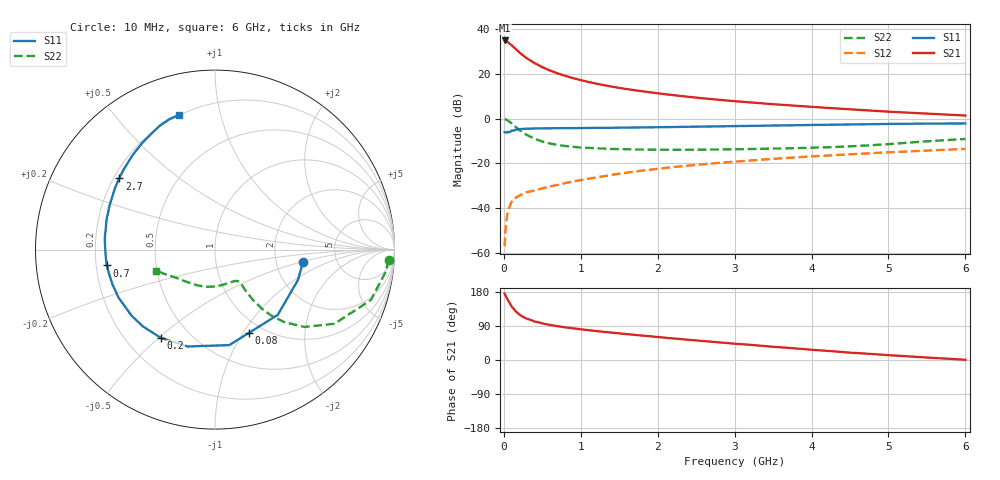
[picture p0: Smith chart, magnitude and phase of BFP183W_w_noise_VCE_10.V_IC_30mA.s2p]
! Infineon Technologies  Discrete & RF Semiconductors
! BFP183W
! VCE =  10. V,  IC =  30 mA
! Common Emitter S-Parameters:  Jan 2017
# GHz  S  MA  R  50
!  f  S11  S21  S12  S22
! GHz  MAG  ANG  MAG  ANG  MAG  ANG  MAG  ANG
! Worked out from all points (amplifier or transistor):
!   77 points, 10 MHz to 6 GHz, reference 50 ohm
!   highest |S21| = 34.9 dB at 10 MHz (marker M1)
!   |S21| within 3 dB of that: start of sweep to 128.3 MHz
!   unconditionally stable (mu >= 1): 1.034 GHz to 3.46 GHz
!   at 130 MHz: K = 0.29, MSG = 34.0 dB, |S12| = -36.2 dB
!   at 2.2 GHz: K = 1.05, MAG = 14.7 dB, |S12| = -21.7 dB
!   at 6 GHz: K = 0.86, MSG = 7.5 dB, |S12| = -13.6 dB
!   lowest NFmin = 1.39 dB at 450 MHz
!   S11 on the Smith chart (normalised r, x): 10 MHz: 2.84, -0.54; 80 MHz: 0.86, -1.06; 200 MHz: 0.34, -0.51; 700 MHz: 0.24, -0.07; 2.7 GHz: 0.22, +0.32; 6 GHz: 0.20, +0.75
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0.01  0.495 -8.3  55.71 175.3  0.0014 79.5  0.9691 -3.4
0.02  0.4922 -20.2  54.44 170.6  0.003 90.2  0.9597 -7.3
0.05  0.5045 -46.2  51.38 158.6  0.008 72.3  0.9129 -17.9
0.08  0.5012 -68.0  46.38 148.9  0.0114 64.3  0.8293 -25.7
0.1  0.538 -81.5  43.92 141.4  0.0137 61.2  0.7837 -31.8
0.15  0.5611 -105.8  36.41 129.2  0.0168 53.6  0.6583 -40.9
0.2  0.5769 -121.6  30.32 120.2  0.0189 49.9  0.5583 -46.3
0.25  0.5871 -133.3  25.73 113.6  0.0206 47.6  0.484 -49.5
0.3  0.5929 -141.7  22.16 108.8  0.0225 47.6  0.427 -51.4
0.4  0.6002 -153.4  17.3 101.5  0.0247 48.6  0.3521 -53.0
0.5  0.6031 -161.1  14.07 96.6  0.0274 50.7  0.3065 -53.3
0.6  0.6055 -167.1  11.87 92.5  0.0304 51.8  0.2764 -53.2
0.7  0.6094 -171.7  10.22 89.2  0.0328 54.4  0.2564 -52.8
0.9  0.6109 -179.2  7.989 83.5  0.0391 56.7  0.2329 -53.1
1.1  0.616 175.0  6.581 78.8  0.0452 59.3  0.2208 -53.7
1.5  0.6255 165.5  4.846 70.3  0.0583 60.7  0.2068 -57.8
2.1  0.6423 153.5  3.499 58.8  0.0785 60.8  0.2004 -68.7
2.7  0.6648 143.4  2.721 48.2  0.0986 58.8  0.2026 -83.6
3.1  0.6805 137.1  2.37 41.6  0.1119 56.8  0.2067 -93.9
4.1  0.7216 123.4  1.781 25.6  0.1456 51.5  0.2252 -120.1
5.1  0.7593 112.8  1.397 11.5  0.1789 45.4  0.2756 -146.4
6  0.7769 104.8  1.168 0.5  0.2095 39.4  0.3495 -160.5
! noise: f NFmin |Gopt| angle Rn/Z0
0.45  1.39  0.27  180  0.1
0.9  1.43  0.3  -178  0.09
1.9  1.92  0.45  -156  0.1
2.4  2.17  0.5  -152  0.15
